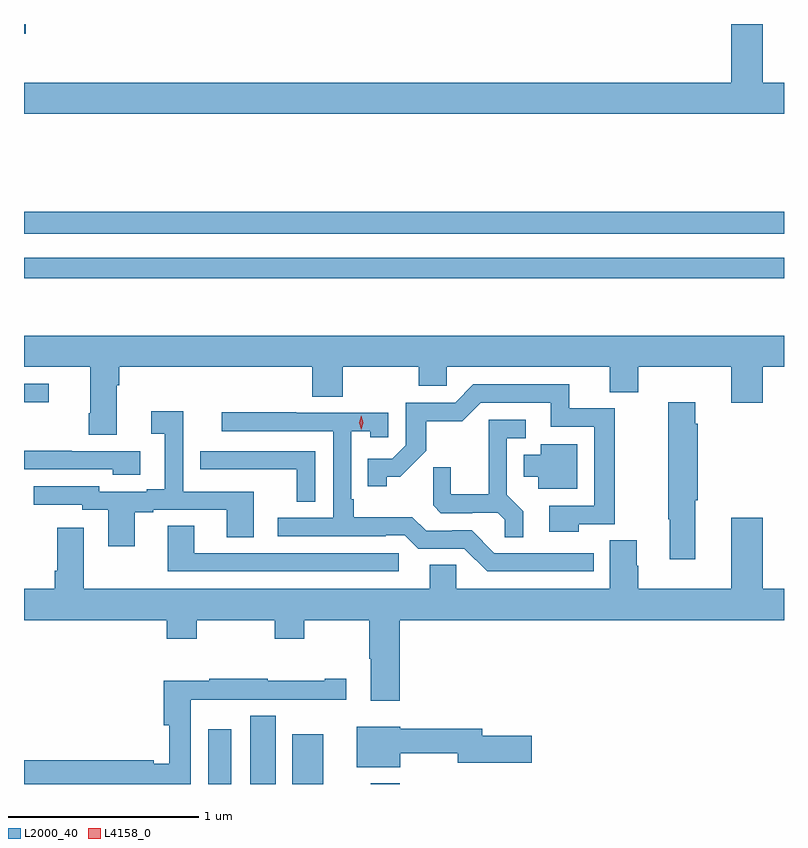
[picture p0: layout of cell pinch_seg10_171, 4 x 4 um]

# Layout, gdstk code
import gdstk
lib = gdstk.Library(unit=1e-6, precision=1e-09)
def R(c, l, rs):  # rectangles x0, y0, x1, y1
    for r in rs: c.add(gdstk.rectangle(r[:2], r[2:], *l))
def P(c, l, *ps):  # polygons
    for p in ps: c.add(gdstk.Polygon(p, *l))
L2000_40 = (2000, 40)
L4158_0 = (4158, 0)

pinch_seg10_171 = lib.new_cell('pinch_seg10_171')
R(pinch_seg10_171, L2000_40, [(689.726,1262.157,689.848,1262.446), (689.948,1262.157,690.082,1262.516), (690.17,1262.157,690.331,1262.419), (690.581,1262.157,690.734,1262.161), (688.757,1264.167,688.888,1264.263), (688.757,1264.818,692.757,1264.926), (688.757,1265.052,692.757,1265.168), (688.757,1266.107,688.765,1266.157)])
P(pinch_seg10_171, L2000_40, [(692.757,1265.848),(692.644,1265.848),(692.644,1266.157),(692.48,1266.157),(692.48,1265.848),(688.757,1265.848),(688.757,1265.684),(692.757,1265.684)],
  [(689.245,1264.256),(689.258,1264.256),(689.258,1264.352),(690.275,1264.352),(690.275,1264.195),(690.435,1264.195),(690.435,1264.352),(690.835,1264.352),(690.835,1264.254),(690.981,1264.254),(690.981,1264.352),(691.841,1264.352),(691.841,1264.219),(691.989,1264.219),(691.989,1264.352),(692.48,1264.352),(692.48,1264.164),(692.644,1264.164),(692.644,1264.352),(692.757,1264.352),(692.757,1264.516),(688.757,1264.516),(688.757,1264.352),(689.105,1264.352),(689.105,1264.108),(689.098,1264.108),(689.098,1263.996),(689.245,1263.996)],
  [(691.677,1263.525),(691.867,1263.525),(691.867,1264.134),(691.628,1264.134),(691.628,1264.26),(691.122,1264.26),(691.026,1264.164),(690.765,1264.164),(690.765,1263.939),(690.696,1263.87),(690.565,1263.87),(690.565,1263.723),(690.666,1263.723),(690.666,1263.773),(690.736,1263.773),(690.874,1263.91),(690.874,1264.066),(691.063,1264.066),(691.161,1264.164),(691.529,1264.164),(691.529,1264.038),(691.758,1264.038),(691.758,1263.621),(691.521,1263.621),(691.521,1263.485),(691.677,1263.485)],
  [(692.29,1263.651),(692.303,1263.651),(692.303,1264.052),(692.29,1264.052),(692.29,1264.165),(692.149,1264.165),(692.149,1263.551),(692.156,1263.551),(692.156,1263.339),(692.29,1263.339)],
  [(689.341,1263.588),(689.437,1263.588),(689.437,1263.6),(689.825,1263.6),(689.825,1263.457),(689.965,1263.457),(689.965,1263.696),(689.595,1263.696),(689.595,1264.12),(689.427,1264.12),(689.427,1264),(689.498,1264),(689.498,1263.709),(689.402,1263.709),(689.402,1263.696),(689.154,1263.696),(689.154,1263.723),(688.809,1263.723),(688.809,1263.627),(689.064,1263.627),(689.064,1263.6),(689.201,1263.6),(689.201,1263.408),(689.341,1263.408)],
  [(691.756,1263.372),(691.233,1263.372),(691.113,1263.492),(691.012,1263.492),(691.012,1263.489),(690.873,1263.489),(690.8,1263.562),(690.493,1263.562),(690.493,1263.655),(690.48,1263.655),(690.48,1264.013),(690.579,1264.013),(690.579,1263.981),(690.675,1263.981),(690.675,1264.11),(690.191,1264.11),(690.191,1264.113),(689.799,1264.113),(689.799,1264.014),(690.384,1264.014),(690.384,1263.558),(690.093,1263.558),(690.093,1263.462),(690.662,1263.462),(690.662,1263.465),(690.762,1263.465),(690.831,1263.396),(691.074,1263.396),(691.194,1263.276),(691.756,1263.276)],
  [(691.385,1263.593),(691.299,1263.679),(691.299,1263.978),(691.399,1263.978),(691.399,1264.074),(691.202,1264.074),(691.202,1263.682),(691.004,1263.682),(691.004,1263.825),(690.91,1263.825),(690.91,1263.623),(690.951,1263.582),(691.116,1263.582),(691.116,1263.585),(691.25,1263.585),(691.287,1263.548),(691.287,1263.457),(691.385,1263.457)],
  [(691.669,1263.946),(691.478,1263.946),(691.478,1263.889),(691.388,1263.889),(691.388,1263.773),(691.463,1263.773),(691.463,1263.71),(691.669,1263.71)],
  [(689.368,1263.909),(689.009,1263.909),(689.009,1263.912),(688.757,1263.912),(688.757,1263.813),(689.223,1263.813),(689.223,1263.785),(689.368,1263.785)],
  [(690.291,1263.909),(689.685,1263.909),(689.685,1263.814),(689.797,1263.814),(689.797,1263.813),(690.193,1263.813),(690.193,1263.643),(690.291,1263.643)],
  [(690.734,1263.02),(692.757,1263.02),(692.757,1263.184),(692.644,1263.184),(692.644,1263.559),(692.48,1263.559),(692.48,1263.184),(691.989,1263.184),(691.989,1263.306),(691.981,1263.306),(691.981,1263.44),(691.841,1263.44),(691.841,1263.184),(691.032,1263.184),(691.032,1263.311),(690.893,1263.311),(690.893,1263.184),(689.071,1263.184),(689.071,1263.505),(688.931,1263.505),(688.931,1263.28),(688.919,1263.28),(688.919,1263.184),(688.757,1263.184),(688.757,1263.02),(689.507,1263.02),(689.507,1262.921),(689.667,1262.921),(689.667,1263.02),(690.076,1263.02),(690.076,1262.921),(690.231,1262.921),(690.231,1263.02),(690.574,1263.02),(690.574,1262.816),(690.581,1262.816),(690.581,1262.595),(690.734,1262.595)],
  [(690.73,1263.372),(689.653,1263.372),(689.653,1263.515),(689.513,1263.515),(689.513,1263.276),(690.73,1263.276)],
  [(689.634,1262.6),(689.844,1262.6),(689.844,1262.601),(690.178,1262.601),(690.178,1262.6),(690.454,1262.6),(690.454,1262.71),(690.341,1262.71),(690.341,1262.7),(690.041,1262.7),(690.041,1262.71),(689.731,1262.71),(689.731,1262.7),(689.492,1262.7),(689.492,1262.465),(689.522,1262.465),(689.522,1262.264),(689.441,1262.264),(689.441,1262.282),(688.757,1262.282),(688.757,1262.157),(689.634,1262.157)],
  [(690.736,1262.319),(691.04,1262.319),(691.04,1262.269),(691.429,1262.269),(691.429,1262.411),(691.168,1262.411),(691.168,1262.447),(690.736,1262.447),(690.736,1262.458),(690.509,1262.458),(690.509,1262.246),(690.736,1262.246)])
P(pinch_seg10_171, L4158_0, [(690.532,1264.022),(690.531,1264.023),(690.522,1264.059),(690.531,1264.095),(690.532,1264.095),(690.532,1264.095),(690.542,1264.059),(690.532,1264.023)])

lib.write_gds('pinch_seg10_171.gds')
